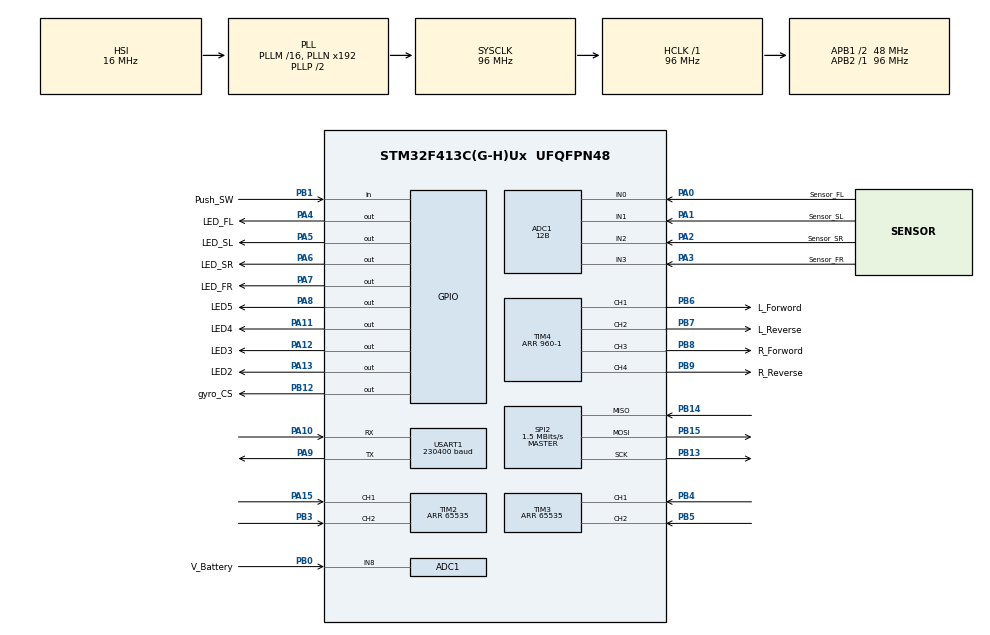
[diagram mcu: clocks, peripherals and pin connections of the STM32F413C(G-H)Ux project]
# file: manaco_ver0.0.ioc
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ADC1.Channel-0\#ChannelRegularConversion=ADC_CHANNEL_8
ADC1.Channel-1\#ChannelRegularConversion=ADC_CHANNEL_0
ADC1.Channel-2\#ChannelRegularConversion=ADC_CHANNEL_1
ADC1.Channel-3\#ChannelRegularConversion=ADC_CHANNEL_2
ADC1.Channel-4\#ChannelRegularConversion=ADC_CHANNEL_3
ADC1.ClockPrescaler=ADC_CLOCK_SYNC_PCLK_DIV4
ADC1.ContinuousConvMode=DISABLE
ADC1.DMAContinuousRequests=ENABLE
ADC1.EOCSelection=ADC_EOC_SEQ_CONV
ADC1.ExternalTrigConv=ADC_EXTERNALTRIGCONV_T1_CC3
ADC1.ExternalTrigConvEdge=ADC_EXTERNALTRIGCONVEDGE_RISINGFALLING
ADC1.NbrOfConversion=5
ADC1.NbrOfConversionFlag=1
ADC1.Rank-0\#ChannelRegularConversion=1
ADC1.Rank-1\#ChannelRegularConversion=2
ADC1.Rank-2\#ChannelRegularConversion=3
ADC1.Rank-3\#ChannelRegularConversion=4
ADC1.Rank-4\#ChannelRegularConversion=5
ADC1.Resolution=ADC_RESOLUTION_12B
ADC1.SamplingTime-0\#ChannelRegularConversion=ADC_SAMPLETIME_56CYCLES
ADC1.SamplingTime-1\#ChannelRegularConversion=ADC_SAMPLETIME_56CYCLES
ADC1.SamplingTime-2\#ChannelRegularConversion=ADC_SAMPLETIME_56CYCLES
ADC1.SamplingTime-3\#ChannelRegularConversion=ADC_SAMPLETIME_56CYCLES
ADC1.SamplingTime-4\#ChannelRegularConversion=ADC_SAMPLETIME_56CYCLES
ADC1.ScanConvMode=ENABLE
ADC1.master=1
Dma.ADC1.2.Direction=DMA_PERIPH_TO_MEMORY
Dma.ADC1.2.FIFOMode=DMA_FIFOMODE_DISABLE
Dma.ADC1.2.Instance=DMA2_Stream0
Dma.ADC1.2.MemDataAlignment=DMA_MDATAALIGN_HALFWORD
Dma.ADC1.2.MemInc=DMA_MINC_ENABLE
Dma.ADC1.2.Mode=DMA_CIRCULAR
Dma.ADC1.2.PeriphDataAlignment=DMA_PDATAALIGN_HALFWORD
Dma.ADC1.2.PeriphInc=DMA_PINC_DISABLE
Dma.ADC1.2.Priority=DMA_PRIORITY_VERY_HIGH
Dma.Request0=SPI2_RX
Dma.Request1=SPI2_TX
Dma.Request2=ADC1
Dma.Request3=TIM1_CH1
Dma.Request4=TIM1_CH2
Dma.SPI2_RX.0.Direction=DMA_PERIPH_TO_MEMORY
Dma.SPI2_RX.0.FIFOMode=DMA_FIFOMODE_DISABLE
Dma.SPI2_RX.0.Instance=DMA1_Stream3
Dma.SPI2_RX.0.MemDataAlignment=DMA_MDATAALIGN_BYTE
Dma.SPI2_RX.0.MemInc=DMA_MINC_ENABLE
Dma.SPI2_RX.0.Mode=DMA_NORMAL
Dma.SPI2_RX.0.PeriphDataAlignment=DMA_PDATAALIGN_BYTE
Dma.SPI2_RX.0.PeriphInc=DMA_PINC_DISABLE
Dma.SPI2_RX.0.Priority=DMA_PRIORITY_HIGH
Dma.SPI2_TX.1.Direction=DMA_MEMORY_TO_PERIPH
Dma.SPI2_TX.1.FIFOMode=DMA_FIFOMODE_DISABLE
Dma.SPI2_TX.1.Instance=DMA1_Stream4
Dma.SPI2_TX.1.MemDataAlignment=DMA_MDATAALIGN_BYTE
Dma.SPI2_TX.1.MemInc=DMA_MINC_ENABLE
Dma.SPI2_TX.1.Mode=DMA_NORMAL
Dma.SPI2_TX.1.PeriphDataAlignment=DMA_PDATAALIGN_BYTE
Dma.SPI2_TX.1.PeriphInc=DMA_PINC_DISABLE
Dma.SPI2_TX.1.Priority=DMA_PRIORITY_HIGH
Dma.TIM1_CH1.3.Direction=DMA_MEMORY_TO_PERIPH
Dma.TIM1_CH1.3.FIFOMode=DMA_FIFOMODE_DISABLE
Dma.TIM1_CH1.3.Instance=DMA2_Stream1
Dma.TIM1_CH1.3.MemDataAlignment=DMA_MDATAALIGN_HALFWORD
Dma.TIM1_CH1.3.MemInc=DMA_MINC_ENABLE
Dma.TIM1_CH1.3.Mode=DMA_CIRCULAR
Dma.TIM1_CH1.3.PeriphDataAlignment=DMA_PDATAALIGN_HALFWORD
Dma.TIM1_CH1.3.PeriphInc=DMA_PINC_DISABLE
Dma.TIM1_CH1.3.Priority=DMA_PRIORITY_HIGH
Dma.TIM1_CH2.4.Direction=DMA_MEMORY_TO_PERIPH
Dma.TIM1_CH2.4.FIFOMode=DMA_FIFOMODE_DISABLE
Dma.TIM1_CH2.4.Instance=DMA2_Stream2
Dma.TIM1_CH2.4.MemDataAlignment=DMA_MDATAALIGN_HALFWORD
Dma.TIM1_CH2.4.MemInc=DMA_MINC_ENABLE
Dma.TIM1_CH2.4.Mode=DMA_CIRCULAR
Dma.TIM1_CH2.4.PeriphDataAlignment=DMA_PDATAALIGN_HALFWORD
Dma.TIM1_CH2.4.PeriphInc=DMA_PINC_DISABLE
Dma.TIM1_CH2.4.Priority=DMA_PRIORITY_HIGH
Mcu.Family=STM32F4
Mcu.Name=STM32F413C(G-H)Ux
Mcu.Package=UFQFPN48
NVIC.DMA1_Stream3_IRQn=true\:0\:0\:false\:false\:true\:false\:true
NVIC.DMA1_Stream4_IRQn=true\:0\:0\:false\:false\:true\:false\:true
NVIC.DMA2_Stream0_IRQn=true\:0\:0\:true\:false\:true\:false\:true
NVIC.DMA2_Stream1_IRQn=true\:1\:0\:true\:false\:true\:false\:true
NVIC.DMA2_Stream2_IRQn=true\:1\:0\:true\:false\:true\:false\:true
NVIC.PriorityGroup=NVIC_PRIORITYGROUP_4
NVIC.TIM6_DAC_IRQn=true\:2\:0\:true\:false\:true\:true\:true
PA0.GPIO_Label=Sensor_FL
PA0.Signal=ADCx_IN0
PA1.GPIO_Label=Sensor_SL
PA1.Signal=ADCx_IN1
PA10.Mode=Asynchronous
PA10.Signal=USART1_RX
PA11.GPIO_Label=LED4
PA11.GPIO_PuPd=GPIO_PULLDOWN
PA11.GPIO_Speed=GPIO_SPEED_FREQ_VERY_HIGH
PA11.Signal=GPIO_Output
PA12.GPIO_Label=LED3
PA12.GPIO_PuPd=GPIO_PULLDOWN
PA12.GPIO_Speed=GPIO_SPEED_FREQ_VERY_HIGH
PA12.Signal=GPIO_Output
PA13.GPIO_Label=LED2
PA13.GPIO_PuPd=GPIO_PULLDOWN
PA13.GPIO_Speed=GPIO_SPEED_FREQ_VERY_HIGH
PA13.Signal=GPIO_Output
PA15.Signal=S_TIM2_CH1_ETR
PA2.GPIO_Label=Sensor_SR
PA2.Signal=ADCx_IN2
PA3.GPIO_Label=Sensor_FR
PA3.Signal=ADCx_IN3
PA4.GPIO_Label=LED_FL
PA4.GPIO_Speed=GPIO_SPEED_FREQ_VERY_HIGH
PA4.Signal=GPIO_Output
PA5.GPIO_Label=LED_SL
PA5.GPIO_Speed=GPIO_SPEED_FREQ_VERY_HIGH
PA5.Signal=GPIO_Output
PA6.GPIO_Label=LED_SR
PA6.GPIO_Speed=GPIO_SPEED_FREQ_VERY_HIGH
PA6.PinState=GPIO_PIN_RESET
PA6.Signal=GPIO_Output
PA7.GPIO_Label=LED_FR
PA7.GPIO_Speed=GPIO_SPEED_FREQ_VERY_HIGH
PA7.Signal=GPIO_Output
PA8.GPIO_Label=LED5
PA8.GPIO_PuPd=GPIO_PULLDOWN
PA8.GPIO_Speed=GPIO_SPEED_FREQ_VERY_HIGH
PA8.Signal=GPIO_Output
PA9.Mode=Asynchronous
PA9.Signal=USART1_TX
PB0.GPIO_Label=V_Battery
PB0.Signal=ADCx_IN8
PB1.GPIO_Label=Push_SW
PB1.Signal=GPIO_Input
PB12.GPIO_Label=gyro_CS
PB12.GPIO_Speed=GPIO_SPEED_FREQ_VERY_HIGH
PB12.Signal=GPIO_Output
PB13.Mode=Full_Duplex_Master
PB13.Signal=SPI2_SCK
PB14.Mode=Full_Duplex_Master
PB14.Signal=SPI2_MISO
PB15.Mode=Full_Duplex_Master
PB15.Signal=SPI2_MOSI
PB3.Signal=S_TIM2_CH2
PB4.Signal=S_TIM3_CH1
PB5.Signal=S_TIM3_CH2
PB6.GPIO_Label=L_Forword
PB6.GPIO_Speed=GPIO_SPEED_FREQ_VERY_HIGH
PB6.Signal=S_TIM4_CH1
PB7.GPIO_Label=L_Reverse
PB7.GPIO_Speed=GPIO_SPEED_FREQ_VERY_HIGH
PB7.Signal=S_TIM4_CH2
PB8.GPIO_Label=R_Forword
PB8.GPIO_Speed=GPIO_SPEED_FREQ_VERY_HIGH
PB8.Signal=S_TIM4_CH3
PB9.GPIO_Label=R_Reverse
PB9.GPIO_Speed=GPIO_SPEED_FREQ_VERY_HIGH
PB9.Signal=S_TIM4_CH4
ProjectManager.HeapSize=0x200
ProjectManager.StackSize=0x400
ProjectManager.TargetToolchain=STM32CubeIDE
RCC.AHBFreq_Value=96000000
RCC.APB1CLKDivider=RCC_HCLK_DIV2
RCC.APB1Freq_Value=48000000
RCC.APB1TimFreq_Value=96000000
RCC.APB2Freq_Value=96000000
RCC.APB2TimFreq_Value=96000000
RCC.CortexFreq_Value=96000000
RCC.HCLKFreq_Value=96000000
RCC.SYSCLKFreq_VALUE=96000000
RCC.SYSCLKSource=RCC_SYSCLKSOURCE_PLLCLK
RCC.USBFreq_Value=96000000
RCC.VCOOutputFreq_Value=192000000
SH.ADCx_IN0.0=ADC1_IN0,IN0
SH.ADCx_IN1.0=ADC1_IN1,IN1
SH.ADCx_IN2.0=ADC1_IN2,IN2
SH.ADCx_IN3.0=ADC1_IN3,IN3
SH.ADCx_IN8.0=ADC1_IN8,IN8
SH.S_TIM2_CH1_ETR.0=TIM2_CH1,Encoder_Interface
SH.S_TIM2_CH2.0=TIM2_CH2,Encoder_Interface
SH.S_TIM3_CH1.0=TIM3_CH1,Encoder_Interface
SH.S_TIM3_CH2.0=TIM3_CH2,Encoder_Interface
SH.S_TIM4_CH1.0=TIM4_CH1,PWM Generation1 CH1
SH.S_TIM4_CH2.0=TIM4_CH2,PWM Generation2 CH2
SH.S_TIM4_CH3.0=TIM4_CH3,PWM Generation3 CH3
SH.S_TIM4_CH4.0=TIM4_CH4,PWM Generation4 CH4
SPI2.BaudRatePrescaler=SPI_BAUDRATEPRESCALER_32
SPI2.CLKPhase=SPI_PHASE_2EDGE
SPI2.CLKPolarity=SPI_POLARITY_HIGH
SPI2.CalculateBaudRate=1.5 MBits/s
SPI2.Direction=SPI_DIRECTION_2LINES
SPI2.Mode=SPI_MODE_MASTER
SPI2.VirtualType=VM_MASTER
TIM1.AutomaticOutput=TIM_AUTOMATICOUTPUT_DISABLE
TIM1.Channel-Output\ Compare3\ No\ Output=TIM_CHANNEL_3
TIM1.Channel-PWM\ Generation1\ No\ Output=TIM_CHANNEL_1
TIM1.Channel-PWM\ Generation2\ No\ Output=TIM_CHANNEL_2
TIM1.ClockDivision=TIM_CLOCKDIVISION_DIV1
TIM1.OCMode_3=TIM_OCMODE_TOGGLE
TIM1.Period=64000-1
TIM1.Prescaler=0
TIM1.Pulse-Output\ Compare3\ No\ Output=5760
TIM1.Pulse-PWM\ Generation1\ No\ Output=2-1
TIM1.Pulse-PWM\ Generation2\ No\ Output=7000
TIM1.TIM_MasterOutputTrigger=TIM_TRGO_RESET
TIM2.EncoderMode=TIM_ENCODERMODE_TI12
TIM2.Period=65535
TIM3.EncoderMode=TIM_ENCODERMODE_TI12
TIM3.Period=65535
TIM4.Channel-PWM\ Generation1\ CH1=TIM_CHANNEL_1
TIM4.Channel-PWM\ Generation2\ CH2=TIM_CHANNEL_2
TIM4.Channel-PWM\ Generation3\ CH3=TIM_CHANNEL_3
TIM4.Channel-PWM\ Generation4\ CH4=TIM_CHANNEL_4
TIM4.OCMode_PWM-PWM\ Generation1\ CH1=TIM_OCMODE_PWM2
TIM4.OCMode_PWM-PWM\ Generation2\ CH2=TIM_OCMODE_PWM2
TIM4.OCMode_PWM-PWM\ Generation3\ CH3=TIM_OCMODE_PWM2
TIM4.OCMode_PWM-PWM\ Generation4\ CH4=TIM_OCMODE_PWM2
TIM4.Period=960-1
TIM6.Period=24000-1
TIM6.Prescaler=4-1
USART1.BaudRate=230400
USART1.VirtualMode=VM_ASYNC
VP_TIM1_VS_ClockSourceINT.Mode=Internal
VP_TIM1_VS_no_output1.Mode=PWM Generation1 No Output
VP_TIM1_VS_no_output2.Mode=PWM Generation2 No Output
VP_TIM1_VS_no_output3.Mode=Output Compare3 No Output
VP_TIM4_VS_ClockSourceINT.Mode=Internal
VP_TIM6_VS_ClockSourceINT.Mode=Enable_Timer
board=custom

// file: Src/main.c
/* USER CODE BEGIN Header */
/**
  ******************************************************************************
  * @file           : main.c
  * @brief          : Main program body
  ******************************************************************************
  * @attention
  *
  * <h2><center>&copy; Copyright (c) 2019 STMicroelectronics.
  * All rights reserved.</center></h2>
  *
  * This software component is licensed by ST under BSD 3-Clause license,
  * the "License"; You may not use this file except in compliance with the
  * License. You may obtain a copy of the License at:
  *                        opensource.org/licenses/BSD-3-Clause
  *
  ******************************************************************************
  */
/* USER CODE END Header */

#include "main.h"
#include "adc.h"
#include "dma.h"
#include "spi.h"
#include "tim.h"
#include "usart.h"
#include "gpio.h"

/* USER CODE BEGIN Includes */
#include "index.h"
/*from matlab*/
#include "maze_init.h"
#include "maze_solve.h"
#include "matlab_code_gen_data.h"
/* USER CODE END Includes */

/* USER CODE BEGIN PTD */
typedef enum {
	search_mode 	= 0,
 	fust_run_mode 	= 1,
} maze_search_flg;

/* USER CODE END PTD */

/* USER CODE BEGIN PV */
/*迷路パラメータ設定*/
uint8_t maze_x_size = 5;//x方向の壁の枚数(x方向のマスの数+1)
uint8_t maze_y_size = 5;//y方向の壁の枚数(y方向のマスの数+1)
uint8_t goal_size = 1; //m ゴールのマスの数
uint8_t maze_goal[18] = {1, 0, 0, 0, 0, 0, 0, 0, 0,    	 //mゴールのx座標
		  	  	  	  	 4, 0, 0, 0, 0, 0, 0, 0, 0};	 //mゴールのy座標
uint8_t m_wall_tmp[1024];//迷路情報格納用配列
uint8_t m_search_tmp[1024];//探索情報格納用配列

uint8_t run_mode = search_mode;

/* USER CODE END PV */

void SystemClock_Config(void);

int main(void)
{
  /* USER CODE BEGIN 1 */
	  int16_t i = 0;

  /* USER CODE END 1 */

  /* MCU Configuration--------------------------------------------------------*/

  /* Reset of all peripherals, Initializes the Flash interface and the Systick. */
  HAL_Init();

  /* Configure the system clock */
  SystemClock_Config();

  /* Initialize all configured peripherals */
  MX_GPIO_Init();
  MX_DMA_Init();
  MX_USART1_UART_Init();
  MX_TIM4_Init();
  MX_SPI2_Init();
  MX_ADC1_Init();
  MX_TIM2_Init();
  MX_TIM3_Init();
  MX_TIM6_Init();
  MX_TIM1_Init();
  /* USER CODE BEGIN 2 */

  /* m 各関数初期化　*/
  Motor_Initialize(); 			/*m モータ用タイマ設定*/
  Communication_Initialize( );	/*printf,scanf用の設定*/
  IMU_Initialize();				/*IMU初期設定*/
  Encoder_Initialize();			/*Encoderタイマ設定、位相初期化*/
  Interrupt_Initialize( );		/*interrupt処理用タイマ(TIM6)初期化*/
  //Battery_LimiterVoltage();		/*a バッテリー下限処理*/

  /* USER CODE END 2 */

  /* Infinite loop */
  while (1)
  {

    /* USER CODE BEGIN 3 */

	  if(stanby_mode == 0)//mスタンバイモードでないとき
	  {
		  Sensor_StopADC();
		  mode_count = 0;			//modeカウンタ初期化
		  while(stanby_mode == 0){	//stanby_modeに入るまでモード選択可能
		  mode_select();
//		  printf("mode_number =%d\r\n", mode_number);
		  stanby_mode = modechangejud_stanby();	//stanby_mode 移行判断
		  }
		  for(int i=0; i<2; i++){ //stanby移行時、LEDを2回点灯させ、IRセンサ起動
		  HAL_GPIO_WritePin(GPIOA,LED2_Pin|LED3_Pin|LED4_Pin|LED5_Pin, GPIO_PIN_SET);
		  HAL_Delay(700);
		  HAL_GPIO_WritePin(GPIOA,LED2_Pin|LED3_Pin|LED4_Pin|LED5_Pin, GPIO_PIN_RESET);
		  HAL_Delay(300);
		  }

		  Sensor_Initialize( );	//irsensor計測開始

		  /*m右前センサをモード開始のスイッチとする。*/
		  while(1)
		  {
			  if( Sensor_GetValue(3) >= 1500)
				{
				  HAL_Delay(500);
					  break;
				}
		  }

		  mode_number_int = mode_number; //m 各モードナンバごとの割り込みフラグ
		  mode_number = 0;//m モードナンバの初期化
	  }

	  /*x ここからモードごとの処理に移行　 x*/
	  switch(mode_number_int){

	  case 0://m データ吐き出し用
//		  printf("mode0_start\r\n");
		  data_read();
	  break;

	  case 1:
//		  printf("mode1_start\r\n");
		  accel_dir_flg = 1; //m減速モード
		  fornt_wall_calibrate();
//		  HAL_Delay(5000);
//		  fornt_wall_calibrate();//壁補正
//		  turn_clk_90();
//		  fornt_wall_calibrate();
//		  turn_clk_90();
//		  HAL_Delay(1000);
		  break;

	  case 2:
//		  printf("mode2_start\r\n");
		  accel_dir_flg = 1; //m減速モード
		  move_dir_flg = 0;////m前進モード
		  real_distance_m_clr();
		  real_distance_w_clr();
		  log_init();
		  target_distance_m_set(0.45);
		  HAL_Delay(4000);
		  break;

	  case 3:
//		  printf("mode3_start\r\n");
		  accel_dir_flg = 1; //m減速モード
		  rotation_dir_flg = 0;////m反時計モード

		  real_distance_m_clr();
		  real_distance_w_clr();
		  log_init();
		  target_distance_w_set(2*PI);
		  HAL_Delay(20000);

//		  rotation_dir_flg = 1;//m時計モード
//		  target_distance_w_set(-PI/2);
//		  HAL_Delay(2000);

//		  target_distance_w_set(PI/2);
//		  HAL_Delay(500);
//		  target_distance_m_set(0.18);
//		  HAL_Delay(1000);
		  break;

	  case 4:
//		  Motor_SetDuty_Right(60);
//		  Motor_SetDuty_Left(-60);
		  HAL_Delay(500);
		  log_init();
//		  for(i=0; i<=100; i += 1){
////			  Motor_SetDuty_Right(-i);
//			  Motor_SetDuty_Left(-i);
//			  HAL_Delay(10);
//		  }
//		  HAL_Delay(200);
//		  for(i=100; i>=60; i -= 1){
//			  Motor_SetDuty_Right(i);
//			  Motor_SetDuty_Left(-i);
//			  HAL_Delay(10);
//		  }

		  Motor_SetDuty_Right(100);
		  Motor_SetDuty_Left(-100);

		  HAL_Delay(2000);
//		  printf("mode4_start\r\n");
		  break;

	  case 5:
//		  printf("mode5_start\r\n");
		  Motor_SetDuty_Right(60);
		  Motor_SetDuty_Left(60);
		  HAL_Delay(200);
		  log_init();
		  for(i=60; i<=200; i += 10){
			  Motor_SetDuty_Right(i);
			  Motor_SetDuty_Left(i);
			  HAL_Delay(10);
		  }
		  HAL_Delay(500);
		  for(i=200; i>=60; i -= 10){
			  Motor_SetDuty_Right(i);
			  Motor_SetDuty_Left(i);
			  HAL_Delay(10);
		  }
		  HAL_Delay(500);

		  break;

	  case 6:
//		  printf("mode6_start\r\n");
		  accel_dir_flg = 1; //m減速モード
		  correction_mode = 0;
		  HAL_Delay(10000);

		  break;

	  case 7:
//		  printf("mode7_start\r\n");
//		  correction_mode = 1;
		  accel_dir_flg = 1; //m減速モード
		  module_test( );
		  break;

	  /*m最短走行*/
	  case 14:

		  break;

	  /*m迷路探索*/
	  case 15:
		  /*m迷路データの初期化*/
		  maze_init(maze_y_size, maze_x_size, m_wall_tmp, m_search_tmp);

		  /*m探索モードで走行*/
		  run_mode = search_mode;
		  maze_solve(m_wall_tmp, m_search_tmp, maze_y_size, maze_x_size, maze_goal, goal_size, run_mode);

		  break;

	  }

	  Sensor_StopADC();			//m sennsor停止
	  stanby_mode = 0;			//m　モード選択処理に移行
	  mode_number_int = 0;		//m　モードごとの割り込みフラグクリア
	  Motor_SetDuty_Right(0);	//motor_r 停止
	  Motor_SetDuty_Left(0);	//motor_l 停止

	  for(int i=0; i<3; i++){ //m モード処理終了時、LEDを3回点灯
	  HAL_GPIO_WritePin(GPIOA,LED2_Pin|LED3_Pin|LED4_Pin|LED5_Pin, GPIO_PIN_SET);
	  HAL_Delay(700);
	  HAL_GPIO_WritePin(GPIOA,LED2_Pin|LED3_Pin|LED4_Pin|LED5_Pin, GPIO_PIN_RESET);
	  HAL_Delay(300);
	  }

  }
  /* USER CODE END 3 */
}

void SystemClock_Config(void)
{
  RCC_OscInitTypeDef RCC_OscInitStruct = {0};
  RCC_ClkInitTypeDef RCC_ClkInitStruct = {0};

  /** Configure the main internal regulator output voltage
  */
  __HAL_RCC_PWR_CLK_ENABLE();
  __HAL_PWR_VOLTAGESCALING_CONFIG(PWR_REGULATOR_VOLTAGE_SCALE1);
  /** Initializes the CPU, AHB and APB busses clocks
  */
  RCC_OscInitStruct.OscillatorType = RCC_OSCILLATORTYPE_HSI;
  RCC_OscInitStruct.HSIState = RCC_HSI_ON;
  RCC_OscInitStruct.HSICalibrationValue = RCC_HSICALIBRATION_DEFAULT;
  RCC_OscInitStruct.PLL.PLLState = RCC_PLL_ON;
  RCC_OscInitStruct.PLL.PLLSource = RCC_PLLSOURCE_HSI;
  RCC_OscInitStruct.PLL.PLLM = 16;
  RCC_OscInitStruct.PLL.PLLN = 192;
  RCC_OscInitStruct.PLL.PLLP = RCC_PLLP_DIV2;
  RCC_OscInitStruct.PLL.PLLQ = 2;
  RCC_OscInitStruct.PLL.PLLR = 2;
  if (HAL_RCC_OscConfig(&RCC_OscInitStruct) != HAL_OK)
  {
    Error_Handler();
  }
  /** Initializes the CPU, AHB and APB busses clocks
  */
  RCC_ClkInitStruct.ClockType = RCC_CLOCKTYPE_HCLK|RCC_CLOCKTYPE_SYSCLK
                              |RCC_CLOCKTYPE_PCLK1|RCC_CLOCKTYPE_PCLK2;
  RCC_ClkInitStruct.SYSCLKSource = RCC_SYSCLKSOURCE_PLLCLK;
  RCC_ClkInitStruct.AHBCLKDivider = RCC_SYSCLK_DIV1;
  RCC_ClkInitStruct.APB1CLKDivider = RCC_HCLK_DIV2;
  RCC_ClkInitStruct.APB2CLKDivider = RCC_HCLK_DIV1;

  if (HAL_RCC_ClockConfig(&RCC_ClkInitStruct, FLASH_LATENCY_3) != HAL_OK)
  {
    Error_Handler();
  }
}

void Error_Handler(void)
{
}

/************************ (C) COPYRIGHT STMicroelectronics *****END OF FILE****/
